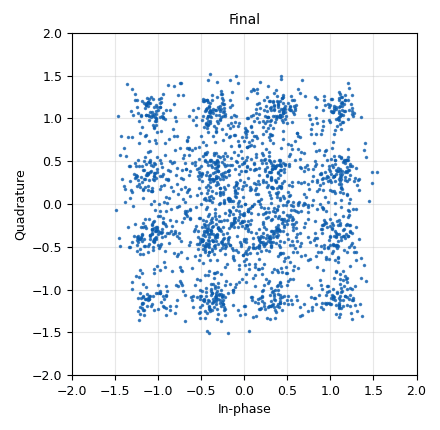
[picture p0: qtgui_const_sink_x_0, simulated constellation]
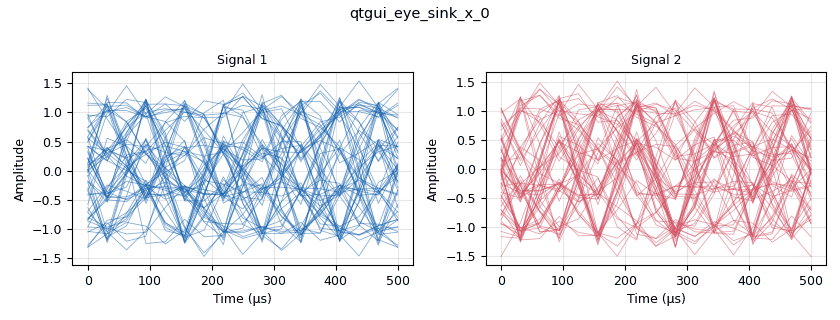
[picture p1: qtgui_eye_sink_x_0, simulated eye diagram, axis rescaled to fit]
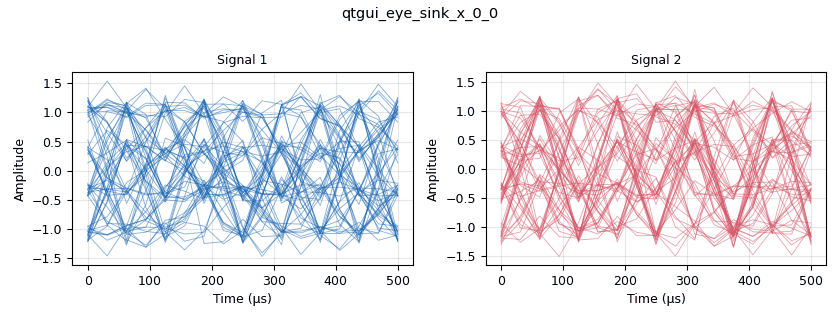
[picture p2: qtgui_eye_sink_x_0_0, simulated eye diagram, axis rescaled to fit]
options:
  parameters:
    generate_options: qt_gui
    id: eye
    output_language: python
    title: Not titled yet
  states: {}

blocks:
- name: bpsk
  id: variable_constellation_rect
  parameters:
    const_points: '[1, -1]'
    imag_sect: '0'
    real_sect: '2'
    rot_sym: '4'
    sym_map: '[0, 1]'
    w_imag_sect: '1'
    w_real_sect: '1'
  states: {}
- name: noise_volt
  id: variable_qtgui_range
  parameters:
    gui_hint: 0,0,1,1
    label: Noise Voltage
    start: '0'
    step: '0.01'
    stop: '1'
    value: '0.0001'
  states: {}
- name: qam_16
  id: variable_constellation_rect
  parameters:
    const_points: digital.qam_16()[0]
    imag_sect: '2'
    real_sect: '2'
    rot_sym: '4'
    sym_map: digital.qam_16()[1]
    w_imag_sect: '1'
    w_real_sect: '1'
  states: {}
- name: qpsk
  id: variable_constellation_rect
  parameters:
    const_points: '[0.707+0.707j, -0.707+0.707j, -0.707-0.707j, 0.707-0.707j]'
    imag_sect: '2'
    real_sect: '2'
    rot_sym: '4'
    sym_map: '[0, 1, 2, 3]'
    w_imag_sect: '1'
    w_real_sect: '1'
  states: {}
- name: samp_rate
  id: variable
  parameters:
    value: '32000'
  states: {}
- name: taps
  id: variable
  parameters:
    value: '[1.0 + 0.0j, ]'
  states: {}
- name: time_offset
  id: variable_qtgui_range
  parameters:
    gui_hint: 0,2,1,1
    label: Timing Offset
    start: '0.999'
    step: '0.0001'
    stop: '1.001'
    value: '1.00'
  states: {}
- name: analog_random_source_x_0
  id: analog_random_source_x
  parameters:
    max: '256'
    min: '0'
    num_samps: '10000'
    repeat: 'True'
    type: byte
  states: {}
- name: channels_channel_model_0
  id: channels_channel_model
  parameters:
    epsilon: time_offset
    freq_offset: '0'
    noise_voltage: noise_volt
    seed: '0'
    taps: taps
  states: {}
- name: digital_constellation_modulator_0
  id: digital_constellation_modulator
  parameters:
    constellation: qam_16
    differential: 'False'
    excess_bw: '0.35'
    samples_per_symbol: '2'
  states: {}
- name: qtgui_const_sink_x_0
  id: qtgui_const_sink_x
  parameters:
    alpha1: '0.5'
    gui_hint: 1,2,1,1
    name: Final
    size: '2048'
    type: complex
  states: {}
- name: qtgui_eye_sink_x_0
  id: qtgui_eye_sink_x
  parameters:
    samp_per_symbol: '8'
    size: '1024'
    srate: samp_rate
    type: complex
  states: {}
- name: qtgui_eye_sink_x_0_0
  id: qtgui_eye_sink_x
  parameters:
    samp_per_symbol: '8'
    size: '1024'
    srate: samp_rate
    type: complex
  states: {}
- name: qtgui_number_sink_0
  id: qtgui_number_sink
  parameters:
    autoscale: 'True'
    graph_type: qtgui.NUM_GRAPH_HORIZ
    max: '2'
    min: '0'
    type: byte
  states: {}
- name: virtual_sink_0
  id: virtual_sink
  parameters:
    alias: channel_input
    stream_id: channel_input
  states: {}
- name: virtual_source_0
  id: virtual_source
  parameters:
    stream_id: channel_input
  states: {}

connections:
- [analog_random_source_x_0, '0', digital_constellation_modulator_0, '0']
- [analog_random_source_x_0, '0', qtgui_number_sink_0, '0']
- [channels_channel_model_0, '0', qtgui_const_sink_x_0, '0']
- [channels_channel_model_0, '0', qtgui_eye_sink_x_0, '0']
- [digital_constellation_modulator_0, '0', qtgui_eye_sink_x_0_0, '0']
- [digital_constellation_modulator_0, '0', virtual_sink_0, '0']
- [virtual_source_0, '0', channels_channel_model_0, '0']

metadata:
  file_format: 1
  grc_version: 3.10.9.2
